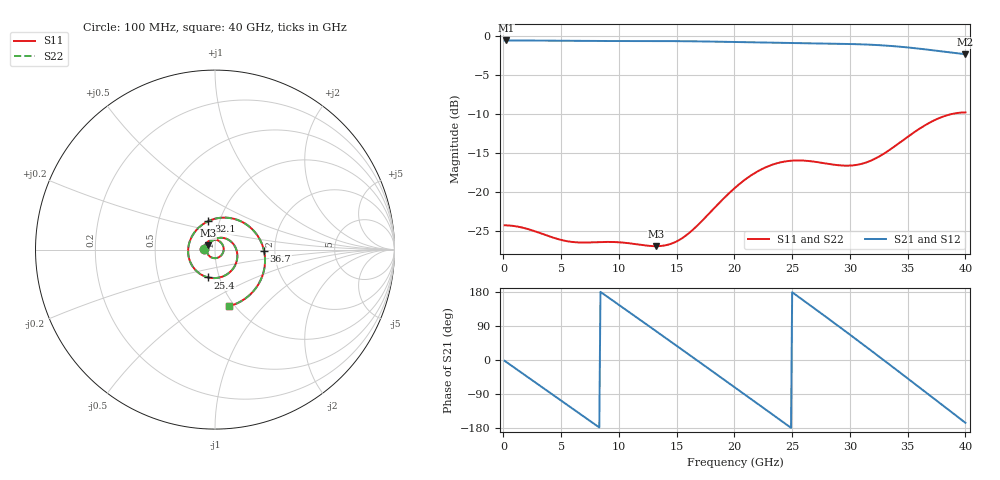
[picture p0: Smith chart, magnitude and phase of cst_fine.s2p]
! B_s8_L1L8_d200: L1→L8, no stub, drill Ø0.2
! stackup: 8-layer 1.6 mm FR-4 (generic)
! ports: 1, 2
! CST Studio Suite 2025.5 Release from 2025-05-30, time domain (FIT, hexahedral, PBA), 386496 mesh cells, 72 s
! mesh: {'lpw': 30.0, 'lpb': 30.0, 'minstep': 0.0, 'ratio': 20}; ports: port 1 (face); port 2 (face)
! interpolated from CST's 1001 samples to the case grid
# Hz S RI R 50
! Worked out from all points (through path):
!   400 points, 100 MHz to 40 GHz, reference 50 ohm
!   highest |S21| = -0.55 dB at 200 MHz (marker M1); lowest = -2.3 dB at 40 GHz (marker M2)
!   group delay of S21, straight-line fit = 61.2 ps
!   lowest |S11| = -26.9 dB at 13.2 GHz (marker M3), VSWR 1.09, Z = 46.2 + j2.17 ohm
!   |S11| at or under -10 dB: start of sweep to 38.77 GHz
!   |S22| runs from -26.9 to -9.8 dB; largest |S21 - S12| = 4.5e-07
!   S11 on the Smith chart (normalised r, x): 100 MHz: 0.88, +0.01; 25.4 GHz: 0.89, -0.28; 32.1 GHz: 0.88, +0.29; 36.7 GHz: 1.75, -0.03; 40 GHz: 0.94, -0.66
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1e8  -0.0612 0.00318  0.9377 -0.0352  0.9377 -0.0352  -0.0612 0.00318
2e8  -0.061 0.00635  0.9357 -0.0703  0.9357 -0.0703  -0.061 0.00635
1.8e9  -0.0345 0.0477  0.732 -0.586  0.732 -0.586  -0.0345 0.0477
3.7e9  0.0219 0.0482  0.171 -0.9198  0.171 -0.9198  0.0219 0.0482
6.8e9  0.0365 -0.0304  -0.7719 -0.5224  -0.7719 -0.5224  0.0365 -0.0304
9.6e9  -0.0278 -0.039  -0.8367 0.4074  -0.8367 0.4074  -0.0278 -0.039
1.15e10  -0.0461 -0.00458  -0.3659 0.8555  -0.3659 0.8555  -0.0461 -0.00457
1.32e10  -0.0385 0.0234  0.2181 0.9042  0.2181 0.9042  -0.0385 0.0234
1.34e10  -0.0368 0.026  0.2856 0.885  0.2856 0.885  -0.0368 0.026
1.52e10  -0.0187 0.0455  0.778 0.5069  0.778 0.5069  -0.0187 0.0455
1.67e10  0.00441 0.06  0.9262 0.0075  0.9262 0.0075  0.00444 0.06
1.83e10  0.0461 0.0649  0.7611 -0.5214  0.7611 -0.5214  0.0462 0.0649
2.01e10  0.1031 0.0301  0.2571 -0.8804  0.2571 -0.8804  0.1031 0.03
2.24e10  0.1151 -0.0811  -0.5093 -0.7535  -0.5093 -0.7535  0.115 -0.0812
2.54e10  -0.0373 -0.1552  -0.8871 0.1568  -0.8871 0.1568  -0.0374 -0.1552
2.67e10  -0.1079 -0.1148  -0.6996 0.5631  -0.6996 0.5631  -0.1079 -0.1147
2.93e10  -0.1446 0.0325  0.111 0.8858  0.111 0.8858  -0.1446 0.0325
3.21e10  -0.0377 0.1583  0.8321 0.2834  0.8321 0.2834  -0.0377 0.1584
3.34e10  0.0522 0.1783  0.8502 -0.1701  0.8502 -0.1701  0.0522 0.1783
3.52e10  0.1952 0.1247  0.5048 -0.6761  0.5048 -0.6761  0.1952 0.1247
3.67e10  0.2734 -0.00784  0.0245 -0.8195  0.0245 -0.8195  0.2734 -0.00784
4e10  0.0763 -0.3155  -0.7421 -0.1878  -0.7421 -0.1878  0.0764 -0.3155
